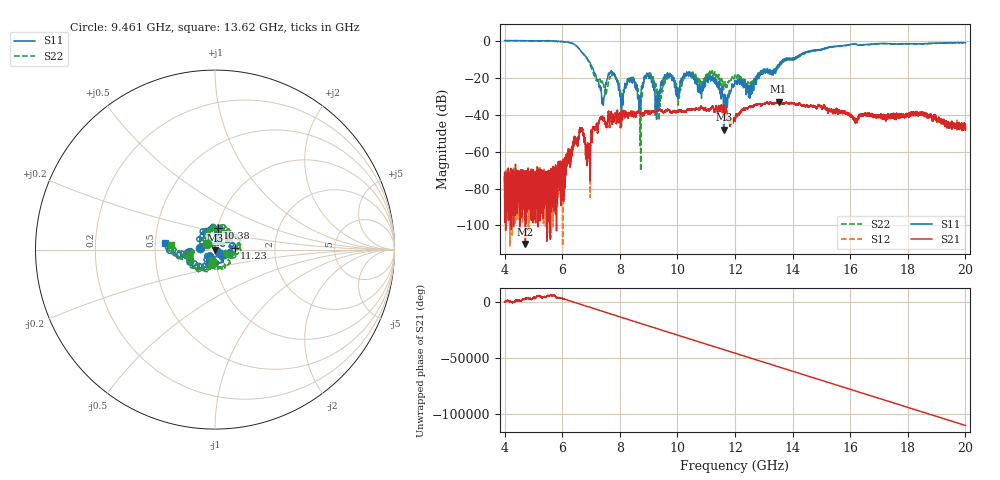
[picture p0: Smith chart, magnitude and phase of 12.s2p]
[Version] 2.0
! Rohde & Schwarz Vector Network Analyzer
! Rohde-Schwarz,ZNL20-2Port,1323001220200009,1.71.1.10-23.02.1.238
! Port Assignments:
! Nominal Port -> Actual Test Port
!  1 -> 1
!  2 -> 2
! Created: GMT+2 2025-01-17 12:10:39
# Hz S RI R 50
[Number of Ports] 2
[Two-Port Data Order] 21_12
! freq[Hz]  S11[Re]  S11[Im]  S21[Re]  S21[Im]  S12[Re]  S12[Im]  S22[Re]  S22[Im]
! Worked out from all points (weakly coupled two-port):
!   16001 points, 4 GHz to 20 GHz, reference 50 ohm
!   highest |S21| = -33.04 dB at 13.51 GHz (marker M1); lowest = -110.0 dB at 4.721 GHz (marker M2)
!   lowest |S11| = -48.2 dB at 11.61 GHz (marker M3), VSWR 1.01, Z = 50.2 - j0.328 ohm
!   |S11| at or under -10 dB: 6.882 GHz to 13.7 GHz (6.819 GHz wide, 66.3 % of centre); 13.71212 GHz to 13.7418 GHz (29.69 MHz wide, 0.216 % of centre); 13.94226 GHz to 13.96562 GHz (23.37 MHz wide, 0.167 % of centre) (the widest 3 of 9)
!   |S22| runs from -70.5 to 0.0 dB; largest |S21 - S12| = 0.0032
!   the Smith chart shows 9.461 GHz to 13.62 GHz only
!   S11 on the Smith chart (normalised r, x): 9.461 GHz: 0.85, +0.02; 10.38 GHz: 1.00, +0.24; 11.23 GHz: 1.24, +0.03; 13.62 GHz: 0.57, +0.05
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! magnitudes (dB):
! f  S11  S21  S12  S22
! 4 GHz  0.0  -77.5  -94.2  -0.2
! 4.721 GHz  -0.1  -110.0  -73.8  -0.2
! 5.778 GHz  -0.2  -72.8  -71.7  -0.4
! 6.667 GHz  -6.0  -48.2  -48.0  -6.1
! 6.901 GHz  -10.5  -60.8  -58.9  -11.0
! 7.407 GHz  -31.2  -41.6  -41.7  -22.9
! 7.719 GHz  -16.8  -41.1  -41.1  -18.9
! 8.052 GHz  -43.2  -38.3  -38.2  -32.5
! 8.428 GHz  -22.9  -40.0  -40.0  -21.5
! 8.715 GHz  -35.7  -38.8  -38.7  -39.0
! 9.003 GHz  -20.4  -38.2  -38.3  -18.7
! 9.334 GHz  -27.9  -38.0  -38.0  -30.9
! 9.461 GHz  -21.7  -37.8  -37.6  -25.1
! 10.38 GHz  -18.3  -37.4  -37.1  -18.2
! 11.23 GHz  -19.2  -35.6  -35.4  -17.4
! 11.61 GHz  -48.2  -34.8  -34.7  -25.3
! 12 GHz  -21.7  -43.2  -43.3  -19.0
! 13.51 GHz  -13.9  -33.0  -33.2  -14.0
! 13.62 GHz  -11.1  -34.2  -34.1  -12.2
! 14.67 GHz  -5.4  -35.3  -35.1  -5.9
! 17.33 GHz  -1.7  -41.2  -41.3  -1.8
! 20 GHz  -1.2  -47.4  -46.4  -1.2
